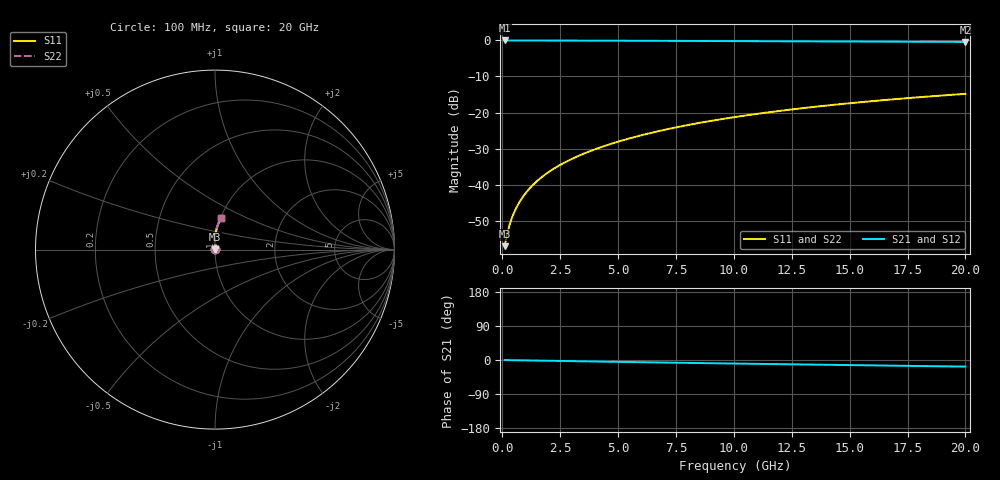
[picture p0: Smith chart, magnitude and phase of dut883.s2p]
! Touchstone file exported from HFSS 2024.1.0
!  File:  C:/UserFiles/LocalFiles/RDL_TSV_Batchsim/temp_RDL_bottom_883_1779865554.aedt
!  Generated:  03:08:43 PM May 27, 2026
!  Design:  RDL_bottom
!  Project:  temp_RDL_bottom_883_1779865554
!  Setup:  Setup1
!  Solution:  Sweep
! Variables:
!  dtsv = 10.80580581um
!  hbump = 3um
!  htsv = 86.5um
!  ldown = 214.37um
!  lrdl = 100um
!  p = 40
!  p1 = 54.16um
!  rhole = 1um
!  t = 450um
!  tdown = 3.26um
!  trdl = 3.915915916um
!  wdown = 26.71um
!  wrdl = 20um
# GHz S MA R 50.000000
! Terminal data exported
! Port[1] = RDL1_T1
! Port[2] = RDL1_T2
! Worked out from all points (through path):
!   200 points, 100 MHz to 20 GHz, reference 50 ohm
!   highest |S21| = -0.01 dB at 100 MHz (marker M1); lowest = -0.4 dB at 20 GHz (marker M2)
!   group delay of S21, straight-line fit = 2.39 ps
!   lowest |S11| = -57.1 dB at 100 MHz (marker M3), VSWR 1.00, Z = 50.1 + j0.0825 ohm
!   |S11| at or under -10 dB: start of sweep to end of sweep
!   |S22| runs from -57.1 to -14.8 dB; largest |S21 - S12| = 3.1e-15
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0.1  0.001404 35.9  0.9989 -0.1  0.9989 -0.1  0.001404 35.9
! Gamma 0 0 0 0
! Port Impedance 50 0 50 0
0.2  0.002005 53.6  0.9988 -0.2  0.9988 -0.2  0.002005 53.6
0.3  0.002677 62.3  0.9987 -0.3  0.9987 -0.3  0.002677 62.3
0.4  0.00336 67.5  0.9986 -0.4  0.9986 -0.4  0.00336 67.5
0.5  0.004048 71.2  0.9986 -0.5  0.9986 -0.5  0.004048 71.2
0.6  0.004742 73.9  0.9985 -0.6  0.9985 -0.6  0.004742 73.9
0.8  0.006147 77.7  0.9983 -0.8  0.9983 -0.8  0.006147 77.7
1.1  0.008295 81.3  0.9981 -1.1  0.9981 -1.1  0.008295 81.3
1.3  0.00975 83.0  0.9979 -1.3  0.9979 -1.3  0.00975 83.0
1.6  0.01196 84.8  0.9976 -1.6  0.9976 -1.6  0.01196 84.8
2.1  0.01573 86.9  0.9969 -2.1  0.9969 -2.1  0.01572 86.9
2.7  0.02036 88.5  0.996 -2.7  0.996 -2.7  0.02036 88.5
3.5  0.02677 89.9  0.9944 -3.5  0.9944 -3.5  0.02677 89.9
4.2  0.03259 90.6  0.9929 -4.2  0.9929 -4.2  0.03259 90.6
5  0.03947 91.0  0.9909 -5.0  0.9909 -5.0  0.03947 91.0
5.9  0.04748 91.1  0.9886 -5.8  0.9886 -5.8  0.04748 91.1
6.8  0.05573 90.9  0.9862 -6.6  0.9862 -6.6  0.05572 90.9
8.4  0.0708 90.0  0.9819 -8.0  0.9819 -8.0  0.0708 90.0
10.1  0.08718 88.7  0.9774 -9.4  0.9774 -9.4  0.08717 88.7
13.4  0.1192 85.5  0.9692 -12.2  0.9692 -12.2  0.1192 85.5
16.7  0.1509 82.2  0.9612 -14.8  0.9612 -14.8  0.1509 82.2
20  0.1818 79.0  0.9533 -17.4  0.9533 -17.4  0.1817 78.9
